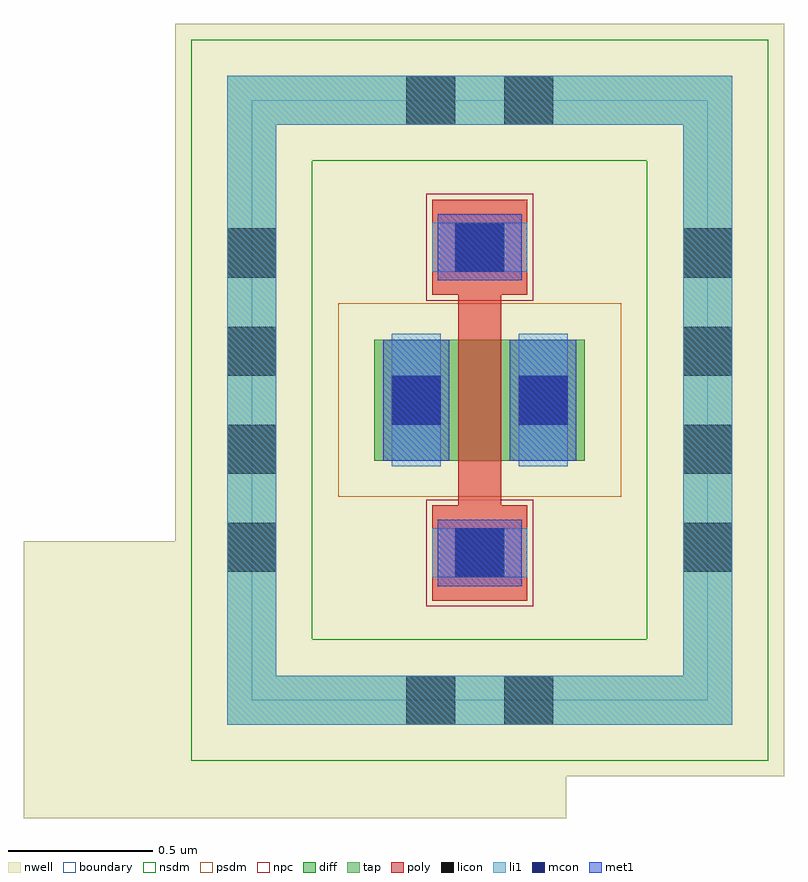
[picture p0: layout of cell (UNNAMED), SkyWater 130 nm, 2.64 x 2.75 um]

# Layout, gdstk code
import gdstk
lib = gdstk.Library(unit=1e-6, precision=1e-09)
def R(c, l, rs):  # rectangles x0, y0, x1, y1
    for r in rs: c.add(gdstk.rectangle(r[:2], r[2:], *l))
def A(c, l, x, y, w, h, nx, ny, dx, dy):  # array of equal rectangles
    R(c, l, [(x+i*dx, y+j*dy, x+i*dx+w, y+j*dy+h) for i in range(nx) for j in range(ny)])
nwell = (64, 20)
diff = (65, 20)
tap = (65, 44)
poly = (66, 20)
licon = (66, 44)
li1 = (67, 20)
mcon = (67, 44)
met1 = (68, 20)
nsdm = (93, 44)
psdm = (94, 20)
npc = (95, 20)
boundary = (235, 4)

sky130_fd_pr__pfet_01v8_ = lib.new_cell('sky130_fd_pr__pfet_01v8_M479BZ')
R(sky130_fd_pr__pfet_01v8_, nwell, [(-1.055,-1.305,1.055,1.305)])
R(sky130_fd_pr__pfet_01v8_, diff, [(-0.365,-0.21,0.365,0.21)])
R(sky130_fd_pr__pfet_01v8_, tap, [(-0.875,-1.125,0.875,-0.955), (-0.875,-0.955,-0.705,0.955), (0.705,-0.955,0.875,0.955), (-0.875,0.955,0.875,1.125)])
R(sky130_fd_pr__pfet_01v8_, poly, [(-0.165,-0.695,0.165,-0.365), (-0.075,-0.365,0.075,0.365), (-0.165,0.365,0.165,0.695)])
A(sky130_fd_pr__pfet_01v8_, licon, -0.875, -0.595, 0.17, 0.17, 1, 4, 0, 0.34)
A(sky130_fd_pr__pfet_01v8_, licon, 0.705, -0.595, 0.17, 0.17, 1, 4, 0, 0.34)
R(sky130_fd_pr__pfet_01v8_, licon, [(-0.255,-1.125,-0.085,-0.955), (0.085,-1.125,0.255,-0.955), (-0.085,-0.615,0.085,-0.445), (-0.305,-0.085,-0.135,0.085), (0.135,-0.085,0.305,0.085), (-0.085,0.445,0.085,0.615), (-0.255,0.955,-0.085,1.125), (0.085,0.955,0.255,1.125)])
R(sky130_fd_pr__pfet_01v8_, li1, [(-0.875,-1.125,0.875,-0.955), (-0.875,-0.955,-0.705,0.955), (0.705,-0.955,0.875,0.955), (-0.165,-0.615,0.165,-0.445), (-0.305,-0.23,-0.135,0.23), (0.135,-0.23,0.305,0.23), (-0.165,0.445,0.165,0.615), (-0.875,0.955,0.875,1.125)])
R(sky130_fd_pr__pfet_01v8_, mcon, [(-0.085,-0.615,0.085,-0.445), (-0.305,-0.085,-0.135,0.085), (0.135,-0.085,0.305,0.085), (-0.085,0.445,0.085,0.615)])
R(sky130_fd_pr__pfet_01v8_, met1, [(-0.145,-0.645,0.145,-0.415), (-0.335,-0.21,-0.105,0.21), (0.105,-0.21,0.335,0.21), (-0.145,0.415,0.145,0.645)])
R(sky130_fd_pr__pfet_01v8_, nsdm, [(-1,-1.25,1,-0.83), (-1,-0.83,-0.58,0.83), (0.58,-0.83,1,0.83), (-1,0.83,1,1.25)])
R(sky130_fd_pr__pfet_01v8_, psdm, [(-0.49,-0.335,0.49,0.335)])
R(sky130_fd_pr__pfet_01v8_, npc, [(-0.185,-0.715,0.185,-0.345), (-0.185,0.345,0.185,0.715)])
R(sky130_fd_pr__pfet_01v8_, boundary, [(-0.79,-1.04,0.79,1.04)])

c__unnamed_ = lib.new_cell('(UNNAMED)')
R(c__unnamed_, nwell, [(-0.86,-0.33,1.02,0.63)])
c__unnamed_.add(gdstk.Reference(sky130_fd_pr__pfet_01v8_, (0.72,1.12)))

lib.write_gds('_UNNAMED_.gds')
